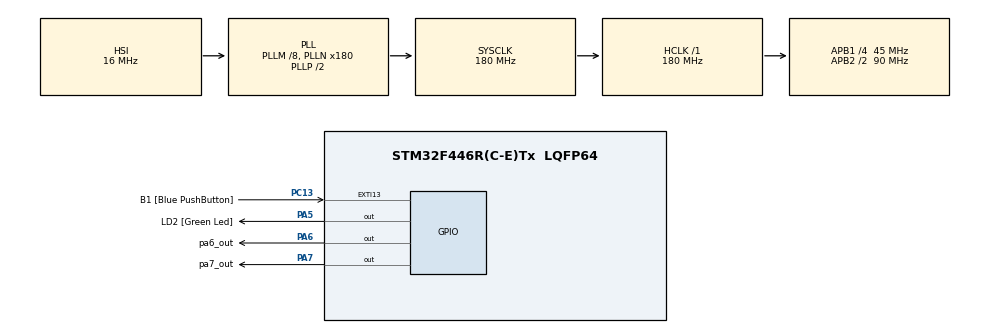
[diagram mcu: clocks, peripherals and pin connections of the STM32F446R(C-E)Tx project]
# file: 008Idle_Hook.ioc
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Mcu.Family=STM32F4
Mcu.Name=STM32F446R(C-E)Tx
Mcu.Package=LQFP64
NVIC.PriorityGroup=NVIC_PRIORITYGROUP_4
NVIC.TIM6_DAC_IRQn=true\:0\:0\:false\:false\:true\:false\:true\:true
NVIC.TimeBase=TIM6_DAC_IRQn
NVIC.TimeBaseIP=TIM6
PA13.GPIO_Label=TMS
PA13.Signal=SYS_JTMS-SWDIO
PA14.GPIO_Label=TCK
PA14.Signal=SYS_JTCK-SWCLK
PA2.GPIO_Label=USART_TX
PA2.Signal=USART2_TX
PA3.GPIO_Label=USART_RX
PA3.Signal=USART2_RX
PA5.GPIO_Label=LD2 [Green Led]
PA5.Signal=GPIO_Output
PA6.GPIO_Label=pa6_out
PA6.Signal=GPIO_Output
PA7.GPIO_Label=pa7_out
PA7.Signal=GPIO_Output
PB3.GPIO_Label=SWO
PB3.Signal=SYS_JTDO-SWO
PC13.GPIO_Label=B1 [Blue PushButton]
PC13.GPIO_ModeDefaultEXTI=GPIO_MODE_IT_FALLING
PC13.Signal=GPXTI13
PC14-OSC32_IN.Signal=RCC_OSC32_IN
PC15-OSC32_OUT.Signal=RCC_OSC32_OUT
PH0-OSC_IN.Signal=RCC_OSC_IN
PH1-OSC_OUT.Signal=RCC_OSC_OUT
ProjectManager.HeapSize=0x200
ProjectManager.StackSize=0x400
ProjectManager.TargetToolchain=STM32CubeIDE
RCC.AHBFreq_Value=180000000
RCC.APB1CLKDivider=RCC_HCLK_DIV4
RCC.APB1Freq_Value=45000000
RCC.APB1TimFreq_Value=90000000
RCC.APB2CLKDivider=RCC_HCLK_DIV2
RCC.APB2Freq_Value=90000000
RCC.APB2TimFreq_Value=180000000
RCC.CortexFreq_Value=180000000
RCC.FLatency-AdvancedSettings=FLASH_LATENCY_5
RCC.HCLKFreq_Value=180000000
RCC.HSE_VALUE=8000000
RCC.HSI_VALUE=16000000
RCC.LSE_VALUE=32768
RCC.PLLM=8
RCC.PLLN=180
RCC.SYSCLKFreq_VALUE=180000000
RCC.SYSCLKSource=RCC_SYSCLKSOURCE_PLLCLK
RCC.USBFreq_Value=180000000
RCC.VCOOutputFreq_Value=360000000
VP_SYS_VS_tim6.Mode=TIM6
board=NUCLEO-F446RE

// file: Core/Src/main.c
/* USER CODE BEGIN Header */
/**
  ******************************************************************************
  * @file           : main.c
  * @brief          : Main program body
  ******************************************************************************
  * @attention
  *
  * Copyright (c) 2025 STMicroelectronics.
  * All rights reserved.
  *
  * This software is licensed under terms that can be found in the LICENSE file
  * in the root directory of this software component.
  * If no LICENSE file comes with this software, it is provided AS-IS.
  *
  ******************************************************************************
  */
/* USER CODE END Header */
#include "main.h"

/* USER CODE BEGIN Includes */
#include "FreeRTOS.h"
#include "task.h"
/* USER CODE END Includes */

/* USER CODE BEGIN PD */
#define DWT_CTRL_REG 		(*(volatile uint32_t *)0xE0001000)
/* USER CODE END PD */

void SystemClock_Config(void);
static void MX_GPIO_Init(void);
/* USER CODE BEGIN PFP */
static void user_led (void *param);
static void gpioA_pin6 (void *param);
static void gpioA_pin7(void *param);

extern  void SEGGER_UART_init(uint32_t);
void vApplicationIdleHook( void );
/* USER CODE END PFP */

int main(void)
{

  /* USER CODE BEGIN 1 */
	BaseType_t status;
	TaskHandle_t led_Handle, gpioA6_Handle, gpioA7_Handle;

  /* USER CODE END 1 */

  /* MCU Configuration--------------------------------------------------------*/

  /* Reset of all peripherals, Initializes the Flash interface and the Systick. */
  HAL_Init();

  /* Configure the system clock */
  SystemClock_Config();

  /* Initialize all configured peripherals */
  MX_GPIO_Init();
  /* USER CODE BEGIN 2 */
  //Enable the Data watch
  DWT_CTRL_REG |= (1 << 0);

  //Enable Segger uart continuous record
  SEGGER_UART_init(500000);

  //Enable Segger and call
  SEGGER_SYSVIEW_Conf();
  //SEGGER_SYSVIEW_Start();

  status = xTaskCreate(user_led, "User_LED", 200, NULL, 2, &led_Handle);
  configASSERT(status == pdPASS);

  status = xTaskCreate(gpioA_pin6, "portA6_Toggle", 200, NULL, 2, &gpioA6_Handle);
  configASSERT(status == pdPASS);

  status = xTaskCreate(gpioA_pin7, "portA&_Toggle", 200, NULL, 2, &gpioA7_Handle);
  configASSERT(status == pdPASS);

  //start the freertos scheduler
  vTaskStartScheduler();

  //if control comes here means there is not enough heap memory to launch the scheduler

  /* USER CODE END 2 */

  /* Infinite loop */
  while (1)
  {

  }
}

void SystemClock_Config(void)
{
  RCC_OscInitTypeDef RCC_OscInitStruct = {0};
  RCC_ClkInitTypeDef RCC_ClkInitStruct = {0};

  /** Configure the main internal regulator output voltage
  */
  __HAL_RCC_PWR_CLK_ENABLE();
  __HAL_PWR_VOLTAGESCALING_CONFIG(PWR_REGULATOR_VOLTAGE_SCALE1);

  /** Initializes the RCC Oscillators according to the specified parameters
  * in the RCC_OscInitTypeDef structure.
  */
  RCC_OscInitStruct.OscillatorType = RCC_OSCILLATORTYPE_HSI;
  RCC_OscInitStruct.HSIState = RCC_HSI_ON;
  RCC_OscInitStruct.HSICalibrationValue = RCC_HSICALIBRATION_DEFAULT;
  RCC_OscInitStruct.PLL.PLLState = RCC_PLL_ON;
  RCC_OscInitStruct.PLL.PLLSource = RCC_PLLSOURCE_HSI;
  RCC_OscInitStruct.PLL.PLLM = 8;
  RCC_OscInitStruct.PLL.PLLN = 180;
  RCC_OscInitStruct.PLL.PLLP = RCC_PLLP_DIV2;
  RCC_OscInitStruct.PLL.PLLQ = 2;
  RCC_OscInitStruct.PLL.PLLR = 2;
  if (HAL_RCC_OscConfig(&RCC_OscInitStruct) != HAL_OK)
  {
    Error_Handler();
  }

  /** Activate the Over-Drive mode
  */
  if (HAL_PWREx_EnableOverDrive() != HAL_OK)
  {
    Error_Handler();
  }

  /** Initializes the CPU, AHB and APB buses clocks
  */
  RCC_ClkInitStruct.ClockType = RCC_CLOCKTYPE_HCLK|RCC_CLOCKTYPE_SYSCLK
                              |RCC_CLOCKTYPE_PCLK1|RCC_CLOCKTYPE_PCLK2;
  RCC_ClkInitStruct.SYSCLKSource = RCC_SYSCLKSOURCE_PLLCLK;
  RCC_ClkInitStruct.AHBCLKDivider = RCC_SYSCLK_DIV1;
  RCC_ClkInitStruct.APB1CLKDivider = RCC_HCLK_DIV4;
  RCC_ClkInitStruct.APB2CLKDivider = RCC_HCLK_DIV2;

  if (HAL_RCC_ClockConfig(&RCC_ClkInitStruct, FLASH_LATENCY_5) != HAL_OK)
  {
    Error_Handler();
  }
}

static void MX_GPIO_Init(void)
{
  GPIO_InitTypeDef GPIO_InitStruct = {0};
  /* USER CODE BEGIN MX_GPIO_Init_1 */
  //GPIO_InitTypeDef GPIO_InitTask = {0};
  /* USER CODE END MX_GPIO_Init_1 */

  /* GPIO Ports Clock Enable */
  __HAL_RCC_GPIOC_CLK_ENABLE();
  __HAL_RCC_GPIOH_CLK_ENABLE();
  __HAL_RCC_GPIOA_CLK_ENABLE();
  __HAL_RCC_GPIOB_CLK_ENABLE();

  /*Configure GPIO pin Output Level */
  HAL_GPIO_WritePin(GPIOA, LD2_Pin|pa6_out_Pin|pa7_out_Pin, GPIO_PIN_RESET);

  /*Configure GPIO pin : B1_Pin */
  GPIO_InitStruct.Pin = B1_Pin;
  GPIO_InitStruct.Mode = GPIO_MODE_IT_FALLING;
  GPIO_InitStruct.Pull = GPIO_NOPULL;
  HAL_GPIO_Init(B1_GPIO_Port, &GPIO_InitStruct);

  /*Configure GPIO pins : USART_TX_Pin USART_RX_Pin */
  GPIO_InitStruct.Pin = USART_TX_Pin|USART_RX_Pin;
  GPIO_InitStruct.Mode = GPIO_MODE_AF_PP;
  GPIO_InitStruct.Pull = GPIO_NOPULL;
  GPIO_InitStruct.Speed = GPIO_SPEED_FREQ_VERY_HIGH;
  GPIO_InitStruct.Alternate = GPIO_AF7_USART2;
  HAL_GPIO_Init(GPIOA, &GPIO_InitStruct);

  /*Configure GPIO pins : LD2_Pin pa6_out_Pin pa7_out_Pin */
  GPIO_InitStruct.Pin = LD2_Pin|pa6_out_Pin|pa7_out_Pin;
  GPIO_InitStruct.Mode = GPIO_MODE_OUTPUT_PP;
  GPIO_InitStruct.Pull = GPIO_NOPULL;
  GPIO_InitStruct.Speed = GPIO_SPEED_FREQ_LOW;
  HAL_GPIO_Init(GPIOA, &GPIO_InitStruct);

  /* USER CODE BEGIN MX_GPIO_Init_2 */
  //GPIO_InitTask.Mode = GPIO_MODE_OUTPUT_PP;
  //GPIO_InitTask.Pin = GPIO_PIN_5 | GPIO_PIN_6 | GPIO_PIN_7;

  //HAL_GPIO_Init(GPIOA, &GPIO_InitTask);

  /* USER CODE END MX_GPIO_Init_2 */
}

/* USER CODE BEGIN 4 */
void user_led(void *param){

	//TickType_t last_wake_time;
	//last_wake_time = xTaskGetTickCount();
	while(1){
		HAL_GPIO_TogglePin(GPIOA, GPIO_PIN_5);
		SEGGER_SYSVIEW_PrintfTarget("user_led_task");
		vTaskDelay(pdMS_TO_TICKS(1000));
		//vTaskDelayUntil(&last_wake_time, pdMS_TO_TICKS(1000));
	}

}

void gpioA_pin6(void *param){
	//TickType_t last_wake_time;
	//last_wake_time = xTaskGetTickCount();

	while(1){
		HAL_GPIO_TogglePin(GPIOA, GPIO_PIN_6);
		SEGGER_SYSVIEW_PrintfTarget("gpioa6_task");
		vTaskDelay(pdMS_TO_TICKS(800));
		//vTaskDelayUntil(&last_wake_time, pdMS_TO_TICKS(800));

	}

}

void gpioA_pin7(void *param){
	//TickType_t last_wake_time;
	//last_wake_time = xTaskGetTickCount();

	while(1){
		HAL_GPIO_TogglePin(GPIOA, GPIO_PIN_7);
		SEGGER_SYSVIEW_PrintfTarget("gpioa7_task");
		vTaskDelay(pdMS_TO_TICKS(400));
		//vTaskDelayUntil(&last_wake_time, pdMS_TO_TICKS(400));
	}

}

/* call back from Idle task */
void vApplicationIdleHook( void ){

	HAL_PWR_EnterSLEEPMode(PWR_MAINREGULATOR_ON, PWR_SLEEPENTRY_WFI);
}

/* USER CODE END 4 */

void HAL_TIM_PeriodElapsedCallback(TIM_HandleTypeDef *htim)
{
  if (htim->Instance == TIM6)
  {
    HAL_IncTick();
  }
}

void Error_Handler(void)
{
  __disable_irq();
  while (1)
  {
  }
}
